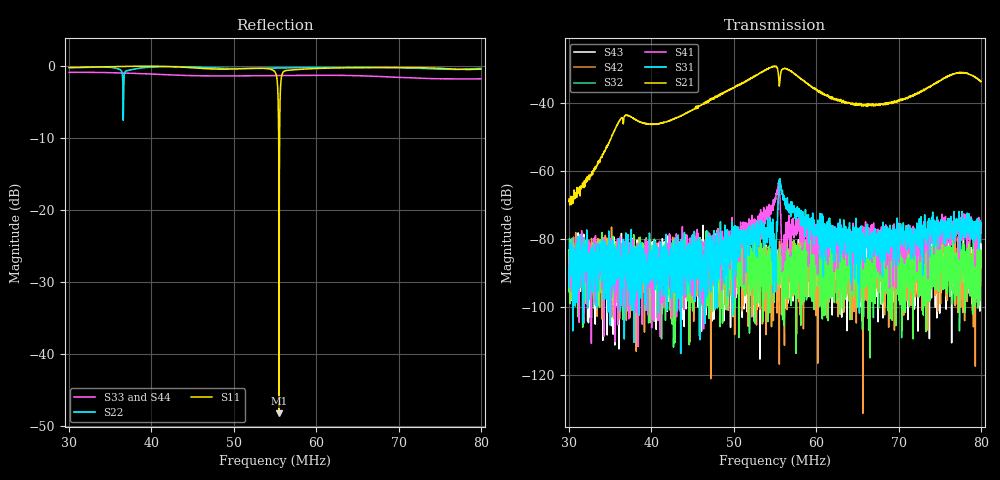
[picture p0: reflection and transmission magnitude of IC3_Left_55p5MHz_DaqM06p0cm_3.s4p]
#  HZ  S  DB  R  50.00
! Rohde & Schwarz Vector Network Analyzer
! Rohde-Schwarz,ZNB8-4Port,1311601044102961,2.82
! Created: UTC 2/13/2019, 9:29:29 AM
! freq[Hz]  db:S11  ang:S11  db:S12  ang:S12  db:S13  ang:S13  db:S14  ang:S14
!  db:S21  ang:S21  db:S22  ang:S22  db:S23  ang:S23  db:S24  ang:S24
!  db:S31  ang:S31  db:S32  ang:S32  db:S33  ang:S33  db:S34  ang:S34
!  db:S41  ang:S41  db:S42  ang:S42  db:S43  ang:S43  db:S44  ang:S44
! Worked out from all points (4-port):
!   2001 points, 30 MHz to 80 MHz, reference 50 ohm
!   strongest paths, dB at 30 MHz, 42.5 MHz, 55 MHz, 67.5 MHz, 80 MHz:
!     S21: -68.1, -44.8, -29.1, -40.3, -33.5
!     S31: -88.2, -81.1, -87.0, -83.4, -75.5
!     S41: -85.2, -89.8, -68.4, -77.0, -78.3
!     S32: -84.0, -105.0, -86.5, -89.3, -86.0
!     S42: -85.5, -88.7, -86.0, -87.5, -88.5
!     S43: -90.1, -89.0, -91.6, -87.5, -86.7
!   lowest |S11| = -48.3 dB at 55.5 MHz (marker M1), VSWR 1.01, Z = 49.7 - j0.197 ohm
!   |S11| at or under -10 dB: 55.44402 MHz to 55.55574 MHz (111.7 kHz wide, 0.201 % of centre)
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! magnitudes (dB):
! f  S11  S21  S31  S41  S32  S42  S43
! 30 MHz  -0.3  -68.1  -88.2  -85.2  -84.0  -85.5  -90.1
! 36.9 MHz  -0.1  -43.4  -78.2  -85.9  -83.0  -89.8  -94.4
! 54.98 MHz  -0.9  -29.0  -85.3  -69.2  -88.2  -90.5  -82.1
! 55.5 MHz  -48.3  -34.5  -63.1  -64.1  -86.3  -91.6  -97.3
! 56 MHz  -0.9  -29.8  -68.4  -87.6  -86.9  -88.8  -86.6
! 62.12 MHz  -0.3  -38.8  -86.8  -78.4  -91.2  -84.3  -86.7
! 80 MHz  -0.5  -33.5  -75.5  -78.3  -86.0  -88.5  -86.7
